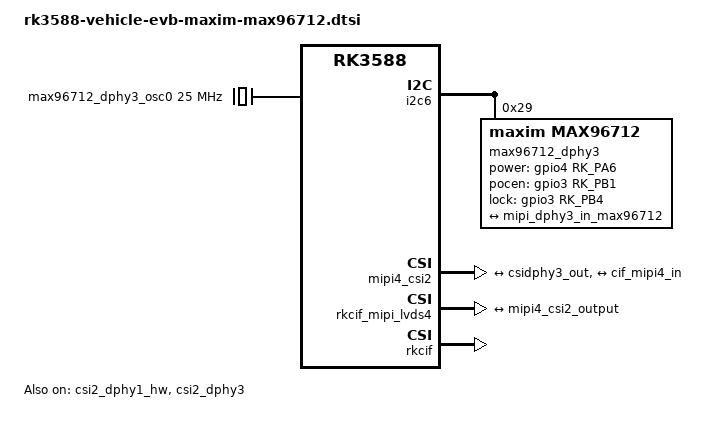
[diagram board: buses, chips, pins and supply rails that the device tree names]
// SPDX-License-Identifier: (GPL-2.0+ OR MIT)
/*
 * Copyright (c) 2023 Rockchip Electronics Co., Ltd.
 *
 */

/ {
	max96712_dphy3_osc0: max96712-dphy3-oscillator@0 {
		compatible = "fixed-clock";
		#clock-cells = <1>;
		clock-frequency = <25000000>;
		clock-output-names = "max96712-dphy3-osc0";
	};
};

&csi2_dphy1_hw {
	status = "okay";
};

&csi2_dphy3 {
	status = "okay";

	ports {
		#address-cells = <1>;
		#size-cells = <0>;
		port@0 {
			reg = <0>;
			#address-cells = <1>;
			#size-cells = <0>;

			mipi_dphy3_in_max96712: endpoint@1 {
				reg = <1>;
				remote-endpoint = <&max96712_dphy3_out>;
				data-lanes = <1 2 3 4>;
			};
		};
		port@1 {
			reg = <1>;
			#address-cells = <1>;
			#size-cells = <0>;

			csidphy3_out: endpoint@0 {
				reg = <0>;
				remote-endpoint = <&mipi4_csi2_input>;
			};
		};
	};
};

&i2c6 {
	status = "okay";
	pinctrl-names = "default";
	pinctrl-0 = <&i2c6m3_xfer>;

	max96712_dphy3: max96712@29 {
		compatible = "maxim,max96712";
		status = "okay";
		reg = <0x29>;
		clock-names = "xvclk";
		clocks = <&max96712_dphy3_osc0 0>;
		pinctrl-names = "default";
		pinctrl-0 = <&max96712_dphy3_power>, <&max96712_dphy3_errb>, <&max96712_dphy3_lock>;
		power-domains = <&power RK3588_PD_VI>;
		rockchip,grf = <&sys_grf>;
		power-gpios = <&gpio4 RK_PA6 GPIO_ACTIVE_HIGH>;
		pocen-gpios = <&gpio3 RK_PB1 GPIO_ACTIVE_HIGH>;
		lock-gpios = <&gpio3 RK_PB4 GPIO_ACTIVE_HIGH>;
		auto-init-deskew-mask = <0x03>;
		frame-sync-period = <0>;
		rockchip,camera-module-index = <0>;
		rockchip,camera-module-facing = "back";
		rockchip,camera-module-name = "max96712";
		rockchip,camera-module-lens-name = "max96712";

		port {
			max96712_dphy3_out: endpoint {
				remote-endpoint = <&mipi_dphy3_in_max96712>;
				data-lanes = <1 2 3 4>;
			};
		};
	};
};

&mipi4_csi2 {
	status = "okay";

	ports {
		#address-cells = <1>;
		#size-cells = <0>;

		port@0 {
			reg = <0>;
			#address-cells = <1>;
			#size-cells = <0>;

			mipi4_csi2_input: endpoint@1 {
				reg = <1>;
				remote-endpoint = <&csidphy3_out>;
			};
		};

		port@1 {
			reg = <1>;
			#address-cells = <1>;
			#size-cells = <0>;

			mipi4_csi2_output: endpoint@0 {
				reg = <0>;
				remote-endpoint = <&cif_mipi4_in>;
			};
		};
	};
};

&rkcif_mipi_lvds4 {
	status = "okay";
	/* parameters for do cif reset detecting:
	 * index0: monitor mode,
		   0 for idle,
		   1 for continue,
		   2 for trigger,
		   3 for hotplug (for nextchip)
	 * index1: the frame id to start timer,
		   min is 2
	 * index2: frame num of monitoring cycle
	 * index3: err time for keep monitoring
		   after finding out err (ms)
	 * index4: csi2 err reference val for resetting
	 */
	rockchip,cif-monitor = <3 2 1 1000 5>;

	port {
		cif_mipi4_in: endpoint {
			remote-endpoint = <&mipi4_csi2_output>;
		};
	};
};

&rkcif {
	status = "okay";
	rockchip,android-usb-camerahal-enable;
};

&rkcif_mmu {
	status = "okay";
};

&pinctrl {
	max96712-dphy3 {
		max96712_dphy3_power: max96712-dphy3-power {
			rockchip,pins = <4 RK_PA6 RK_FUNC_GPIO &pcfg_pull_up>;
		};

		max96712_dphy3_errb: max96712-dphy3-errb {
			rockchip,pins = <0 RK_PC2 RK_FUNC_GPIO &pcfg_pull_up>;
		};

		max96712_dphy3_lock: max96712-dphy3-lock {
			rockchip,pins = <3 RK_PB4 RK_FUNC_GPIO &pcfg_pull_up>;
		};
	};
};
